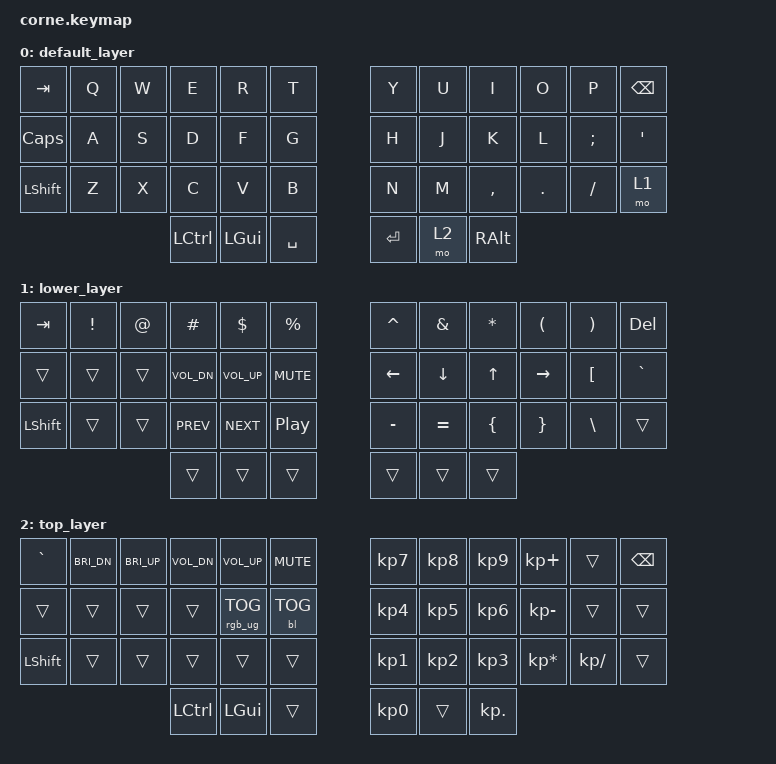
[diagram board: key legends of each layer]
/*
 * Copyright (c) 2020 The ZMK Contributors
 *
 * SPDX-License-Identifier: MIT
 */

#include <behaviors.dtsi>
#include <dt-bindings/zmk/backlight.h>
#include <dt-bindings/zmk/keys.h>
#include <dt-bindings/zmk/rgb.h>

#define DEFAULT 0
#define LOWER   1
#define RAISE   2
#define TOP     3

/ {
    combos { compatible = "zmk,combos"; };

    behaviors {
        qq: qq {
            compatible = "zmk,behavior-mod-morph";
            label = "QQ";
            bindings = <&kp Q>, <&kp EXCLAMATION>;

            #binding-cells = <0>;
            mods = <(MOD_LCTL|MOD_LALT|MOD_LSFT|MOD_LGUI)>;
        };

        ww: ww {
            compatible = "zmk,behavior-mod-morph";
            label = "WW";
            bindings = <&kp W>, <&kp AT_SIGN>;

            #binding-cells = <0>;
            mods = <(MOD_LCTL|MOD_LALT|MOD_LSFT|MOD_LGUI)>;
        };

        ee: ee {
            compatible = "zmk,behavior-mod-morph";
            label = "EE";
            bindings = <&kp E>, <&kp HASH>;

            #binding-cells = <0>;
            mods = <(MOD_LCTL|MOD_LALT|MOD_LSFT|MOD_LGUI)>;
        };

        rr: rr {
            compatible = "zmk,behavior-mod-morph";
            label = "RR";
            bindings = <&kp R>, <&kp DOLLAR>;

            #binding-cells = <0>;
            mods = <(MOD_LCTL|MOD_LALT|MOD_LSFT|MOD_LGUI)>;
        };

        tt: tt {
            compatible = "zmk,behavior-mod-morph";
            label = "TT";
            bindings = <&kp T>, <&kp PERCENT>;

            #binding-cells = <0>;
            mods = <(MOD_LCTL|MOD_LALT|MOD_LSFT|MOD_LGUI)>;
        };

        yy: yy {
            compatible = "zmk,behavior-mod-morph";
            label = "YY";
            bindings = <&kp Y>, <&kp CARET>;

            #binding-cells = <0>;
            mods = <(MOD_LCTL|MOD_LALT|MOD_LSFT|MOD_LGUI)>;
        };

        uu: uu {
            compatible = "zmk,behavior-mod-morph";
            label = "UU";
            bindings = <&kp U>, <&kp AMPERSAND>;

            #binding-cells = <0>;
            mods = <(MOD_LCTL|MOD_LALT|MOD_LSFT|MOD_LGUI)>;
        };

        ii: ii {
            compatible = "zmk,behavior-mod-morph";
            label = "II";
            bindings = <&kp I>, <&kp ASTERISK>;

            #binding-cells = <0>;
            mods = <(MOD_LCTL|MOD_LALT|MOD_LSFT|MOD_LGUI)>;
        };

        oo: oo {
            compatible = "zmk,behavior-mod-morph";
            label = "OO";
            bindings = <&kp O>, <&kp LEFT_PARENTHESIS>;

            #binding-cells = <0>;
            mods = <(MOD_LCTL|MOD_LALT|MOD_LSFT|MOD_LGUI)>;
        };

        pp: pp {
            compatible = "zmk,behavior-mod-morph";
            label = "PP";
            bindings = <&kp P>, <&kp RIGHT_PARENTHESIS>;

            #binding-cells = <0>;
            mods = <(MOD_LCTL|MOD_LALT|MOD_LSFT|MOD_LGUI)>;
        };
    };

    keymap {
        compatible = "zmk,keymap";

        default_layer {
            bindings = <
&kp TAB       &kp Q  &kp W  &kp E      &kp R     &kp T        &kp Y    &kp U  &kp I      &kp O    &kp P     &kp BSPC
&kp CAPSLOCK  &kp A  &kp S  &kp D      &kp F     &kp G        &kp H    &kp J  &kp K      &kp L    &kp SEMI  &kp SQT
&kp LSHFT     &kp Z  &kp X  &kp C      &kp V     &kp B        &kp N    &kp M  &kp COMMA  &kp DOT  &kp FSLH  &mo 1
                            &kp LCTRL  &kp LGUI  &kp SPACE    &kp RET  &mo 2  &kp RALT
            >;
        };

        lower_layer {
            bindings = <
&kp TAB    &kp EXCL  &kp AT_SIGN  &kp HASH      &kp DLLR      &kp PRCNT           &kp CARET  &kp AMPS   &kp STAR        &kp LPAR         &kp RPAR  &kp DEL
&trans     &trans    &trans       &kp C_VOL_DN  &kp C_VOL_UP  &kp K_MUTE          &kp LEFT   &kp DOWN   &kp UP          &kp RIGHT        &kp LBKT  &kp GRAVE
&kp LSHFT  &trans    &trans       &kp C_PREV    &kp C_NEXT    &kp C_PLAY_PAUSE    &kp MINUS  &kp EQUAL  &kp LEFT_BRACE  &kp RIGHT_BRACE  &kp BSLH  &trans
                                  &trans        &trans        &trans              &trans     &trans     &trans
            >;
        };

        top_layer {
            // -----------------------------------------------------------------------------------------
            // |  TAB |  BRIGHT_UP  |  BRIGHT_DOWN  |  VOL_DOWN  |  VOL_UP  |  MUTE  |      |  -  |  7  |  8  |  9  |  +  | BKSP |
            // | CTRL |             |               |             |         |        |      |  .  |  4  |  5  |  6  |  -  |  `   |
            // | SHFT |             |              |             |          |        |      |  0  |  1  |  2  |  3  |  *  |  /   |
            //                      |              |             |          |         |     |     |     |

            bindings = <
&kp GRAVE  &kp C_BRI_DN  &kp C_BRI_UP  &kp C_VOL_DN  &kp C_VOL_UP     &kp K_MUTE    &kp KP_N7  &kp KP_N8  &kp KP_N9   &kp KP_PLUS      &trans         &kp BSPC
&trans     &trans        &trans        &trans        &rgb_ug RGB_TOG  &bl BL_TOG    &kp KP_N4  &kp KP_N5  &kp KP_N6   &kp KP_MINUS     &trans         &trans
&kp LSHFT  &trans        &trans        &trans        &trans           &trans        &kp KP_N1  &kp KP_N2  &kp KP_N3   &kp KP_MULTIPLY  &kp KP_DIVIDE  &trans
                                       &kp LCTRL     &kp LEFT_GUI     &trans        &kp KP_N0  &trans     &kp KP_DOT
            >;
        };
    };
};
